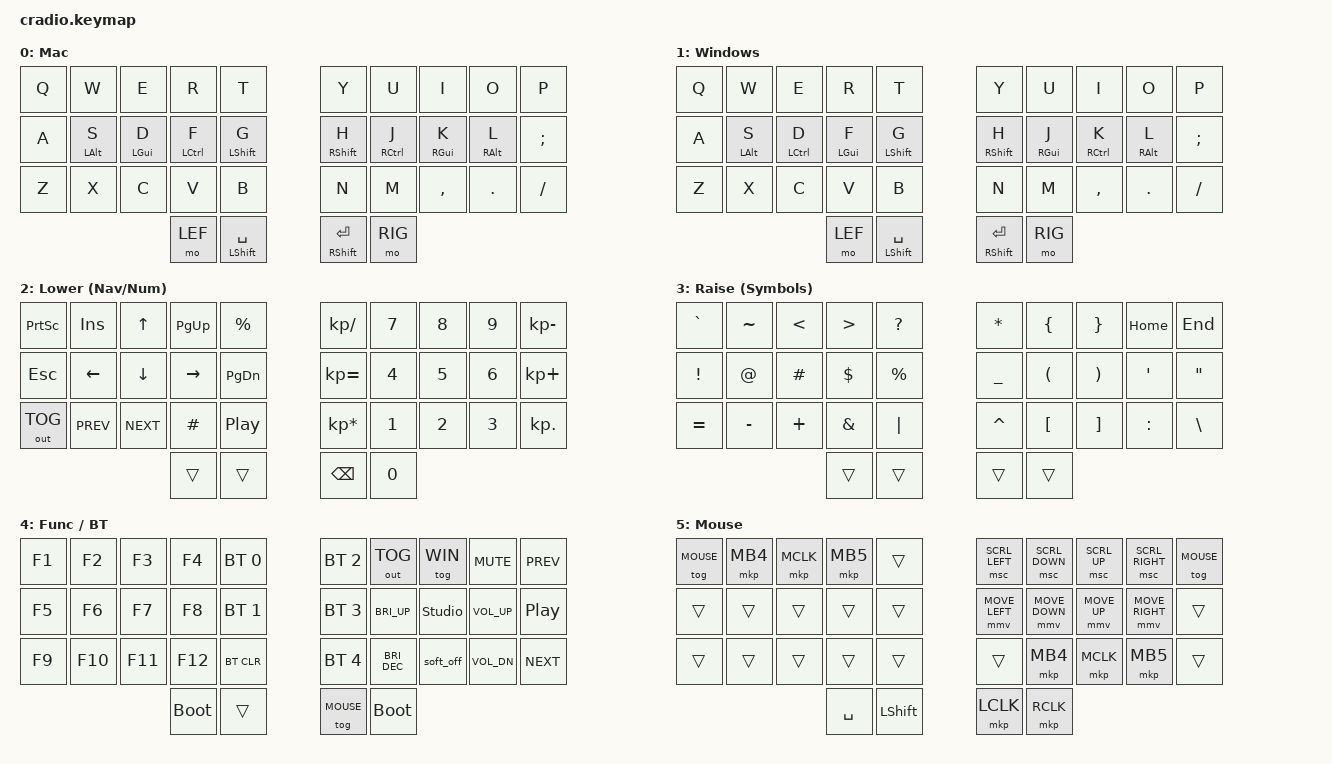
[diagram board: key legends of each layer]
// Copyright (c) 2022 The ZMK Contributors
// SPDX-License-Identifier: MIT

#define ZMK_POINTING_DEFAULT_MOVE_VAL 2500  // 600
#define ZMK_POINTING_DEFAULT_SCRL_VAL 20    // 10

#include <behaviors.dtsi>
#include "behaviors/character_map.dtsi"
#include "behaviors/send_string.dtsi"
#include "behaviors/report.dtsi"
#include <dt-bindings/zmk/bt.h>
#include <dt-bindings/zmk/keys.h>
#include <dt-bindings/zmk/outputs.h>
#include <dt-bindings/zmk/pointing.h>

#define MAC 0
#define WIN 1
#define LEF 2
#define RIG 3
#define TRI 4
#define MOUSE 5

// https://zmk.dev/docs/development/hardware-integration/soft-off-setup?advanced-methods=wakeup&kscan-type=dkscan
/ {
    keys {
        compatible = "gpio-keys";
        soft_off_gpio_key: soft_off_gpio_key {
            gpios = <&gpio1 6 (GPIO_ACTIVE_LOW | GPIO_PULL_UP)>;
        };
    };
    wakeup_scan: wakeup_scan {
        compatible = "zmk,kscan-gpio-direct";
        input-keys = <&soft_off_gpio_key>;
        wakeup-source;
    };
    side_band_behavior_triggers: side_band_behavior_triggers {
        compatible = "zmk,kscan-sideband-behaviors";
        kscan = <&wakeup_scan>;
        auto-enable;
        wakeup-source;
    };
    soft_off_wakers {
        compatible = "zmk,soft-off-wakeup-sources";
        wakeup-sources = <&wakeup_scan>;
    };
};

/ {
    vbatt: vbatt {
        compatible = "zmk,battery-nrf-vddh";
    };
    chosen {
        zmk,charmap = &charmap_us;
        zmk,battery = &vbatt;
    };

    macros {
        alt_d_macro: alt_d_macro {
            compatible = "zmk,behavior-macro";
            label = "ALT_D_MACRO";
            #binding-cells = <0>;
            bindings =
                <&macro_press   &kp LALT>,
                <&macro_tap     &kp D>,
                <&macro_release &kp LALT>;
        };

        switch_lang_windows_caps: switch_lang_windows_caps {
            compatible = "zmk,behavior-macro";
            #binding-cells = <0>;
            bindings = <
                &macro_press   &kp LALT
                &macro_press   &kp LSHIFT
                &macro_release &kp LSHIFT
                &macro_release &kp LALT
            >;
        };

        close_tab: close_tab {
            label = "CLOSE_TAB";
            compatible = "zmk,behavior-macro";
            #binding-cells = <0>;
            wait-ms = <0>;
            tap-ms = <0>;
            bindings
                = <&macro_press   &kp LCTRL>
                , <&macro_tap     &kp W>
                , <&macro_release &kp LCTRL>;
        };
    };

    behaviors {
        ht: hold_tap {
            display-name = "hold_tap";
            compatible = "zmk,behavior-hold-tap";
            #binding-cells = <2>;
            flavor = "balanced";
            tapping-term-ms = <280>;
            quick-tap-ms = <175>;
            require-prior-idle-ms = <150>;
            bindings = <&kp>, <&kp>;
        };
        d_ctrl_morph: d_ctrl_morph {
            compatible = "zmk,behavior-mod-morph";
            label = "D_CTRL_MORPH";
            #binding-cells = <0>;
            mods = <(MOD_LCTL | MOD_RCTL)>;
            bindings = <&kp D>, <&alt_d_macro>;
        };
        mmv {
            acceleration-exponent = <1>;      // 1
            time-to-max-speed-ms = <300>;    // 40
            delay-ms = <0>;                   // 0
        };
        msc {
            acceleration-exponent = <0>;      // 0
            time-to-max-speed-ms = <40>;      // 500
            delay-ms = <0>;                   // 10
        };
    };

    combos {
        compatible = "zmk,combos";

        combo_esc {
            timeout-ms = <60>;
            require-prior-idle-ms = <150>;
            key-positions = <0 1>;
            bindings = <&kp ESC>;
        };

        combo_tab {
            timeout-ms = <60>;
            require-prior-idle-ms = <150>;
            key-positions = <10 11>;
            bindings = <&kp TAB>;
        };

        combo_bspc {
            timeout-ms = <60>;
            require-prior-idle-ms = <150>;
            key-positions = <8 9>;
            bindings = <&kp BSPC>;
        };

        combo_jk_bspc {
            timeout-ms = <60>;
            require-prior-idle-ms = <150>;
            key-positions = <16 17>;
            bindings = <&kp BSPC>;
            layers = <MAC WIN>;
        };

        combo_del {
            timeout-ms = <60>;
            require-prior-idle-ms = <150>;
            key-positions = <7 8>;
            bindings = <&kp DEL>;
        };

        combo_sqt {
            timeout-ms = <60>;
            require-prior-idle-ms = <150>;
            key-positions = <18 19>;
            bindings = <&kp SQT>;
        };

        combo_lang {
            timeout-ms = <60>;
            require-prior-idle-ms = <150>;
            key-positions = <20 21>;
            bindings = <&switch_lang_windows_caps>;
        };

        combo_close_tab {
            timeout-ms = <60>;
            require-prior-idle-ms = <150>;
            key-positions = <21 22>;
            bindings = <&close_tab>;
        };

        combo_left_bootloader {
            timeout-ms = <60>;
            key-positions = <30 31>;
            bindings = <&bootloader>;
        };

        combo_right_bootloader {
            timeout-ms = <60>;
            key-positions = <32 33>;
            bindings = <&bootloader>;
        };
    };

    conditional_layers {
        compatible = "zmk,conditional-layers";

        tri_layer {
            if-layers = <LEF RIG>;
            then-layer = <TRI>;
        };
    };

    keymap {
        compatible = "zmk,keymap";

        mac_layer {
            display-name = "Mac";
            bindings = <
            &kp Q  &kp W       &kp E        &kp R        &kp T         &kp Y        &kp U        &kp I        &kp O       &kp P
            &kp A  &ht LALT S  &ht LGUI D   &ht LCTRL F  &ht LSHFT G   &ht RSHFT H  &ht RCTRL J  &ht RGUI K   &ht RALT L  &kp SEMI
            &kp Z  &kp X       &kp C        &kp V        &kp B         &kp N        &kp M        &kp COMMA    &kp DOT     &kp FSLH
                               &mo LEF      &ht LSHIFT SPACE           &ht RSHIFT RET &mo RIG
            >;
        };

        windows_layer {
            display-name = "Windows";
            bindings = <
            &kp Q  &kp W       &kp E        &kp R        &kp T         &kp Y        &kp U        &kp I        &kp O       &kp P
            &kp A  &ht LALT S  &ht LCTRL D  &ht LGUI F   &ht LSHFT G   &ht RSHFT H  &ht RGUI J   &ht RCTRL K  &ht RALT L  &kp SEMI
            &kp Z  &kp X       &kp C        &kp V        &kp B         &kp N        &kp M        &kp COMMA    &kp DOT     &kp FSLH
                               &mo LEF      &ht LSHIFT SPACE           &ht RSHIFT RET &mo RIG
            >;
        };

        lower_layer {
            display-name = "Lower (Nav/Num)";
            bindings = <
            &kp PSCRN       &kp INS        &kp UP         &kp PG_UP      &kp PRCNT       &kp KP_SLASH   &kp N7  &kp N8  &kp N9  &kp KP_MINUS
            &kp ESC         &kp LEFT       &kp DOWN       &kp RIGHT      &kp PG_DN       &kp KP_EQUAL   &kp N4  &kp N5  &kp N6  &kp KP_PLUS
            &out OUT_TOG    &kp C_PREV     &kp C_NEXT     &kp HASH       &kp C_PP        &kp KP_ASTERISK &kp N1  &kp N2  &kp N3  &kp KP_DOT
                                           &trans         &trans                         &kp BSPC       &kp N0
            >;
        };

        raise_layer {
            display-name = "Raise (Symbols)";
            bindings = <
            &kp GRAVE       &kp TILDE      &kp LT         &kp GT         &kp QMARK       &kp ASTRK      &kp LBRC  &kp RBRC  &kp HOME   &kp END
            &kp EXCL        &kp AT         &kp HASH       &kp DLLR       &kp PRCNT       &kp UNDER      &kp LPAR  &kp RPAR  &kp SQT    &kp DQT
            &kp EQUAL       &kp MINUS      &kp PLUS       &kp AMPS       &kp PIPE        &kp CARET      &kp LBKT  &kp RBKT  &kp COLON  &kp BSLH
                                           &trans         &trans                         &trans         &trans
            >;
        };

        tri_layer {
            display-name = "Func / BT";
            bindings = <
            &kp F1          &kp F2         &kp F3         &kp F4         &bt BT_SEL 0    &bt BT_SEL 2   &out OUT_TOG   &tog WIN       &kp C_MUTE    &kp C_PREV
            &kp F5          &kp F6         &kp F7         &kp F8         &bt BT_SEL 1    &bt BT_SEL 3   &kp C_BRI_UP   &studio_unlock &kp C_VOL_UP  &kp C_PP
            &kp F9          &kp F10        &kp F11        &kp F12        &bt BT_CLR      &bt BT_SEL 4   &kp C_BRI_DEC  &soft_off      &kp C_VOL_DN  &kp C_NEXT
                                           &bootloader    &trans                         &tog MOUSE     &bootloader
            >;
        };

        mouse {
            display-name = "Mouse";
            bindings = <
            &tog MOUSE  &mkp MB4    &mkp MCLK   &mkp MB5    &trans        &msc SCRL_LEFT  &msc SCRL_DOWN  &msc SCRL_UP  &msc SCRL_RIGHT  &tog MOUSE
            &trans      &trans      &trans      &trans      &trans        &mmv MOVE_LEFT  &mmv MOVE_DOWN  &mmv MOVE_UP  &mmv MOVE_RIGHT  &trans
            &trans      &trans      &trans      &trans      &trans        &trans          &mkp MB4        &mkp MCLK     &mkp MB5         &trans
                                    &kp SPACE   &kp LSHIFT                &mkp LCLK       &mkp RCLK
            >;
        };
    };
};
